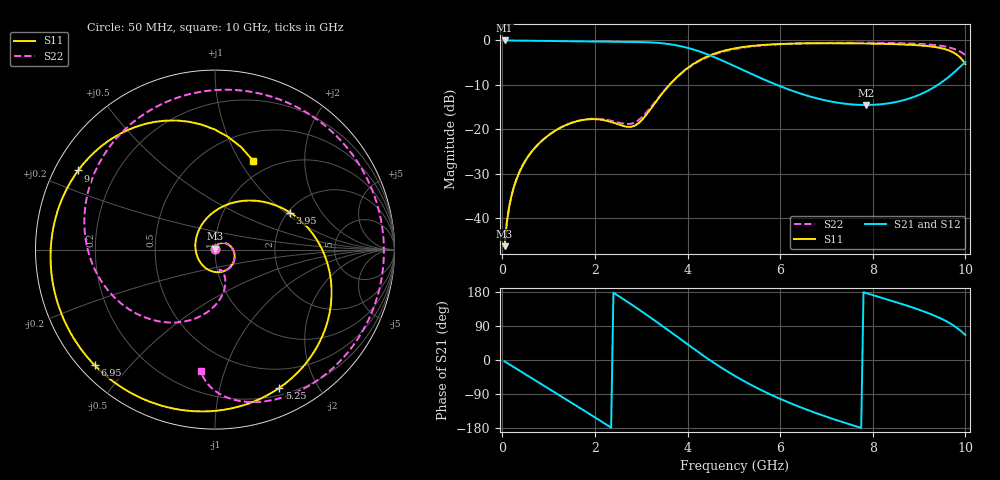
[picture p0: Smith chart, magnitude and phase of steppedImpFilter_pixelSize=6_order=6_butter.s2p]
! freq	dB(S11)	phase(S11)	dB(S12)	phase(S12)
!  dB(S21)	phase(S21)	dB(S22)	phase(S22)
!S-par simulation data
#  GHz  S  DB  R 50
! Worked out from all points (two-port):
!   200 points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, 50 MHz to 10 GHz, reference 50 ohm
!   highest |S21| = -0.01 dB at 50 MHz (marker M1); lowest = -14.5 dB at 7.85 GHz (marker M2)
!   |S21| within 3 dB of the highest: start of sweep to 4.396 GHz
!   lowest |S11| = -46.3 dB at 50 MHz (marker M3), VSWR 1.01, Z = 50.1 + j0.472 ohm
!   |S11| at or under -10 dB: start of sweep to 3.61 GHz
!   |S22| runs from -46.3 to -0.5 dB; largest |S21 - S12| = 0
!   S11 on the Smith chart (normalised r, x): 50 MHz: 1.00, +0.01; 3.95 GHz: 2.05, +1.08; 5.25 GHz: 0.28, -1.53; 6.95 GHz: 0.04, -0.40; 9 GHz: 0.07, +0.27; 10 GHz: 0.82, +1.14
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0.05  -46.35 78.2  -0.01 -3.8  -0.01 -3.8  -46.35 78.0
0.2  -34.95 72.3  -0.03 -15.2  -0.03 -15.2  -34.94 72.0
0.5  -27.06 52.0  -0.06 -37.8  -0.06 -37.8  -27.06 51.3
1.15  -20.29 4.0  -0.14 -86.8  -0.14 -86.8  -20.28 3.3
1.75  -17.90 -43.5  -0.23 -132.2  -0.23 -132.2  -17.85 -39.4
2.15  -17.88 -80.1  -0.27 -162.9  -0.27 -162.9  -17.72 -63.7
2.55  -19.08 -129.5  -0.29 165.8  -0.29 165.8  -18.61 -77.3
3.05  -17.50 136.7  -0.38 124.9  -0.38 124.9  -16.94 -70.2
3.4  -12.66 83.5  -0.59 94.7  -0.59 94.7  -12.51 -78.1
3.95  -6.63 26.3  -1.54 45.7  -1.54 45.7  -6.73 -118.2
4.25  -4.54 0.9  -2.46 19.3  -2.46 19.3  -4.68 -145.3
4.55  -3.11 -21.8  -3.64 -5.9  -3.64 -5.9  -3.27 -172.8
5.05  -1.73 -53.9  -5.95 -44.0  -5.95 -44.0  -1.89 143.4
5.25  -1.41 -65.1  -6.92 -57.7  -6.92 -57.7  -1.55 127.2
5.9  -0.85 -96.1  -9.90 -97.1  -9.90 -97.1  -0.92 79.9
6.7  -0.65 -127.3  -12.79 -136.7  -12.79 -136.7  -0.61 32.6
6.95  -0.63 -136.2  -13.45 -147.6  -13.45 -147.6  -0.57 19.9
7.85  -0.69 -166.7  -14.55 177.0  -14.55 177.0  -0.53 -19.4
8.35  -0.80 175.9  -14.15 158.4  -14.15 158.4  -0.58 -38.1
9  -1.10 150.0  -12.26 132.7  -12.26 132.7  -0.78 -60.8
9.65  -2.28 110.9  -8.14 98.1  -8.14 98.1  -1.58 -84.3
10  -5.36 66.9  -4.88 65.8  -4.88 65.8  -3.33 -96.6
